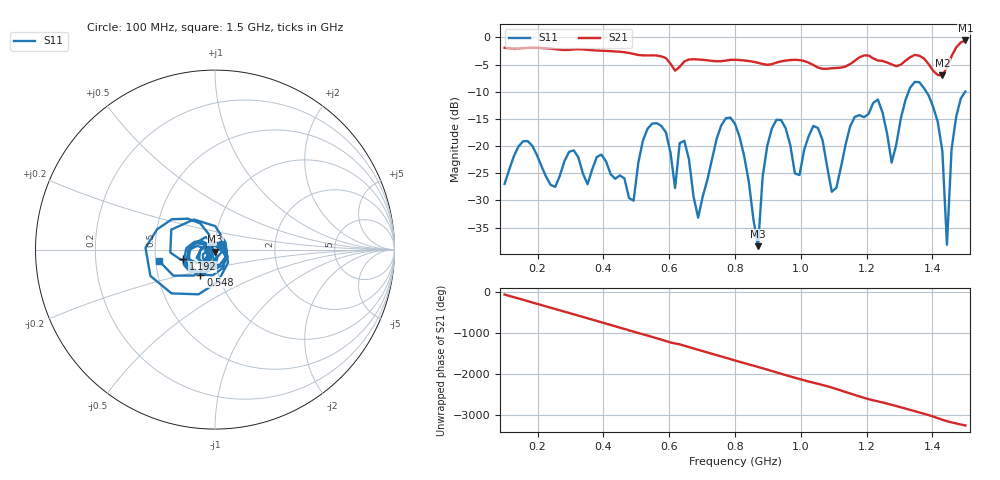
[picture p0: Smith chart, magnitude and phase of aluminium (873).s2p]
! NanoVNA-App
! Date: 2025-09-25 15:02:05
! Start: 100MHz Stop: 1,5GHz Points: 101
! S-Parameter data: F S11 S21 S12 S22
# Hz S RI R 50
!  Frequency  S11_Real  S11_Imag  S21_Real  S21_Imag  S12_Real  S12_Imag  S22_Real  S22_Imag
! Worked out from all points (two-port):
!   101 points, 100 MHz to 1.5 GHz, reference 50 ohm
!   highest |S21| = -0.57 dB at 1.5 GHz (marker M1); lowest = -7.0 dB at 1.43 GHz (marker M2)
!   |S21| within 3 dB of the highest: start of sweep to 579.1 MHz; 1.457 GHz to end of sweep (the widest 2 of 4)
!   lowest |S11| = -38.4 dB at 870 MHz (marker M3), VSWR 1.02, Z = 50.1 - j1.2 ohm
!   |S11| at or under -10 dB: start of sweep to 1.327 GHz; 1.381 GHz to 1.5 GHz (118.5 MHz wide, 8.23 % of centre)
!   S12 and S22 are empty: the file has one direction only
!   S11 on the Smith chart (normalised r, x): 100 MHz: 1.07, +0.06; 548 MHz: 0.82, -0.23; 1.192 GHz: 0.70, -0.07; 1.5 GHz: 0.52, -0.07
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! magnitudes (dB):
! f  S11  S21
! 100 MHz  -27.0  -1.9
! 338 MHz  -25.1  -2.2
! 492 MHz  -30.0  -3.1
! 548 MHz  -15.9  -3.3
! 576 MHz  -16.3  -3.5
! 618 MHz  -27.7  -6.1
! 646 MHz  -19.0  -4.4
! 688 MHz  -33.2  -4.1
! 800 MHz  -15.9  -4.1
! 870 MHz  -38.4  -4.7
! 912 MHz  -16.8  -4.9
! 996 MHz  -25.3  -4.2
! 1.038 GHz  -16.3  -5.1
! 1.094 GHz  -28.4  -5.7
! 1.192 GHz  -14.7  -3.3
! 1.234 GHz  -11.4  -4.3
! 1.276 GHz  -23.0  -5.0
! 1.346 GHz  -8.2  -3.2
! 1.43 GHz  -20.9  -7.0
! 1.444 GHz  -38.2  -5.5
! 1.458 GHz  -20.6  -3.5
! 1.5 GHz  -10.0  -0.6
